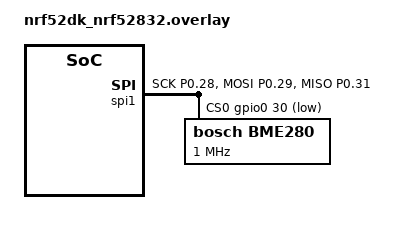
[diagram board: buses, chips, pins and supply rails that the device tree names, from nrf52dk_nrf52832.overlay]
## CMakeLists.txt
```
#
# Copyright (c) 2024 Nordic Semiconductor
#
# SPDX-License-Identifier: LicenseRef-Nordic-5-Clause
#

cmake_minimum_required(VERSION 3.20.0)
find_package(Zephyr REQUIRED HINTS $ENV{ZEPHYR_BASE})
project(nrf_connect_sdk_intermediate)

target_sources(app PRIVATE src/main.c)
```

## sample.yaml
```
sample:
  description: nRF Connect SDK Intermediate Course by Nordic Developer Academy (https://academy.nordicsemi.com/)
  name: nRF Connect SDK Intermediate Course (Lesson 4 - Exercise 1 Solution)
```

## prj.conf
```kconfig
#
# Copyright (c) 2016 Intel Corporation
# Copyright (c) 2020 Nordic Semiconductor ASA
#
# SPDX-License-Identifier: Apache-2.0
#

# Logging
CONFIG_LOG=y

# STEP 1.1 - Enable PWM
CONFIG_PWM=y
CONFIG_PWM_LOG_LEVEL_DBG=y

# STEP 1.2 - Enable LED and LED PWM
CONFIG_LED=y
CONFIG_LED_PWM=y
```

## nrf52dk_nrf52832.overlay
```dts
&i2c0 {	status = "disabled";};
&spi0 {	status = "disabled";};
&i2c1 {	status = "disabled";};
	
&spi1 {
    compatible = "nordic,nrf-spi"; //using SPI as per ERRATA 58
	status = "okay";
	pinctrl-0 = <&spi1_default>;
	pinctrl-1 = <&spi1_sleep>;
	pinctrl-names = "default", "sleep";
	cs-gpios = <&gpio0 30 GPIO_ACTIVE_LOW>;
	bme280@0 {
		compatible = "bosch,bme280";
		reg = <0>;
		spi-max-frequency = <1000000>; 
	};
};

&pinctrl {
	spi1_default: spi1_default {
		group1 {
				psels = <NRF_PSEL(SPIM_SCK, 0, 28)>,
						<NRF_PSEL(SPIM_MOSI, 0, 29)>,
						<NRF_PSEL(SPIM_MISO, 0, 31)>;
		};
	};

	spi1_sleep: spi1_sleep {
		group1 {
				psels = <NRF_PSEL(SPIM_SCK, 0, 28)>,
						<NRF_PSEL(SPIM_MOSI, 0, 29)>,
						<NRF_PSEL(SPIM_MISO, 0, 31)>;
				low-power-enable;
		};
	};
};
```

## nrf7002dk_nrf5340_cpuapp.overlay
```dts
&i2c0 {	status = "disabled";};
&spi0 {	status = "disabled";};
&i2c1 {	status = "disabled";};
	
&spi1 {
    compatible = "nordic,nrf-spim";
	status = "okay";
	pinctrl-0 = <&spi1_default>;
	pinctrl-1 = <&spi1_sleep>;
	pinctrl-names = "default", "sleep";
	cs-gpios = <&gpio0 25 GPIO_ACTIVE_LOW>;
	bme280@0 {
		compatible = "bosch,bme280";
		reg = <0>;
		spi-max-frequency = <1000000>; 
	};
};

&pinctrl {
	spi1_default: spi1_default {
		group1 {
				psels = <NRF_PSEL(SPIM_SCK, 0, 6)>,
						<NRF_PSEL(SPIM_MOSI, 0, 7)>,
						<NRF_PSEL(SPIM_MISO, 0, 26)>;
		};
	};

	spi1_sleep: spi1_sleep {
		group1 {
				psels = <NRF_PSEL(SPIM_SCK, 0, 6)>,
						<NRF_PSEL(SPIM_MOSI, 0, 7)>,
						<NRF_PSEL(SPIM_MISO, 0, 26)>;
				low-power-enable;
		};
	};
};
```

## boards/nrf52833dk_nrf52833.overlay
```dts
/* STEP 2.1 - Add the SPI peripheral to spi1 */
&i2c0 {	status = "disabled";};
&spi0 {	status = "disabled";};
&i2c1 {	status = "disabled";};
	
&spi1 {
    compatible = "nordic,nrf-spim";
	status = "okay";
	pinctrl-0 = <&spi1_default>;
	pinctrl-1 = <&spi1_sleep>;
	pinctrl-names = "default", "sleep";
	cs-gpios = <&gpio0 30 GPIO_ACTIVE_LOW>;
	bme280@0 {
		compatible = "bosch,bme280";
		reg = <0>;
		spi-max-frequency = <125000>; 
	};
};

/* STEP 2.2 - Change the pin configuration */
&pinctrl {
	spi1_default: spi1_default {
		group1 {
				psels = <NRF_PSEL(SPIM_SCK, 0, 28)>,
						<NRF_PSEL(SPIM_MOSI, 0, 29)>,
						<NRF_PSEL(SPIM_MISO, 0, 31)>;
		};
	};

	spi1_sleep: spi1_sleep {
		group1 {
				psels = <NRF_PSEL(SPIM_SCK, 0, 28)>,
						<NRF_PSEL(SPIM_MOSI, 0, 29)>,
						<NRF_PSEL(SPIM_MISO, 0, 31)>;
				low-power-enable;
		};
	};
};
```

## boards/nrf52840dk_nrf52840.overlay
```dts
/* STEP 2 - Create an overlay file for your board */
&i2c0 {	status = "disabled";};
&spi0 {	status = "disabled";};
&i2c1 {	status = "disabled";};
	
&spi1 {
    compatible = "nordic,nrf-spim";
	status = "okay";
	pinctrl-0 = <&spi1_default>;
	pinctrl-1 = <&spi1_sleep>;
	pinctrl-names = "default", "sleep";
	cs-gpios = <&gpio0 30 GPIO_ACTIVE_LOW>;
	bme280: bme280@0 {
		compatible = "bosch,bme280";
		reg = <0>;
		spi-max-frequency = <125000>; 
	};
};

&pinctrl {
	spi1_default: spi1_default {
		group1 {
				psels = <NRF_PSEL(SPIM_SCK, 0, 28)>,
						<NRF_PSEL(SPIM_MOSI, 0, 29)>,
						<NRF_PSEL(SPIM_MISO, 0, 31)>;
		};
	};

	spi1_sleep: spi1_sleep {
		group1 {
				psels = <NRF_PSEL(SPIM_SCK, 0, 28)>,
						<NRF_PSEL(SPIM_MOSI, 0, 29)>,
						<NRF_PSEL(SPIM_MISO, 0, 31)>;
				low-power-enable;
		};
	};
};
```

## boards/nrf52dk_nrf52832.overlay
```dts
/* STEP 2 - Create an overlay file for your board */
&i2c0 {	status = "disabled";};
&spi0 {	status = "disabled";};
&i2c1 {	status = "disabled";};
	
&spi1 {
    compatible = "nordic,nrf-spi"; //using SPI as per ERRATA 58
	status = "okay";
	pinctrl-0 = <&spi1_default>;
	pinctrl-1 = <&spi1_sleep>;
	pinctrl-names = "default", "sleep";
	cs-gpios = <&gpio0 30 GPIO_ACTIVE_LOW>;
	bme280@0 {
		compatible = "bosch,bme280";
		reg = <0>;
		spi-max-frequency = <125000>; 
	};
};

&pinctrl {
	spi1_default: spi1_default {
		group1 {
				psels = <NRF_PSEL(SPIM_SCK, 0, 28)>,
						<NRF_PSEL(SPIM_MOSI, 0, 29)>,
						<NRF_PSEL(SPIM_MISO, 0, 31)>;
		};
	};

	spi1_sleep: spi1_sleep {
		group1 {
				psels = <NRF_PSEL(SPIM_SCK, 0, 28)>,
						<NRF_PSEL(SPIM_MOSI, 0, 29)>,
						<NRF_PSEL(SPIM_MISO, 0, 31)>;
				low-power-enable;
		};
	};
};
```

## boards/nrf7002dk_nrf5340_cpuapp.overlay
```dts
/* STEP 2 - Create an overlay file for your board */
&i2c0 {	status = "disabled";};
&spi0 {	status = "disabled";};
&i2c1 {	status = "disabled";};
	
&spi1 {
    compatible = "nordic,nrf-spim";
	status = "okay";
	pinctrl-0 = <&spi1_default>;
	pinctrl-1 = <&spi1_sleep>;
	pinctrl-names = "default", "sleep";
	cs-gpios = <&gpio0 25 GPIO_ACTIVE_LOW>;
	bme280@0 {
		compatible = "bosch,bme280";
		reg = <0>;
		spi-max-frequency = <125000>; 
	};
};

&pinctrl {
	spi1_default: spi1_default {
		group1 {
				psels = <NRF_PSEL(SPIM_SCK, 0, 6)>,
						<NRF_PSEL(SPIM_MOSI, 0, 7)>,
						<NRF_PSEL(SPIM_MISO, 0, 26)>;
		};
	};

	spi1_sleep: spi1_sleep {
		group1 {
				psels = <NRF_PSEL(SPIM_SCK, 0, 6)>,
						<NRF_PSEL(SPIM_MOSI, 0, 7)>,
						<NRF_PSEL(SPIM_MISO, 0, 26)>;
				low-power-enable;
		};
	};
};
```

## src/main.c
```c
/*
 * Copyright (c) 2016 Intel Corporation
 * Copyright (c) 2020 Nordic Semiconductor ASA
 *
 * SPDX-License-Identifier: Apache-2.0
 */

#include <zephyr/kernel.h>
#include <zephyr/logging/log.h>

/* STEP 1.3 - Include the relevant headers for pwm*/
#include <zephyr/device.h>
#include <zephyr/drivers/pwm.h>

LOG_MODULE_REGISTER(Lesson4_Exercise1, LOG_LEVEL_INF);

/* STEP 2 - Define the desired PWM period and pulse */
#define PWM_PERIOD_NS   100000000
#define PWM_DUTY_CYCLE  1400000


/* STEP 3.1 - Get the node identifier for [] through its alias */
#define PWM_LED0     DT_ALIAS(pwm_led0)

/* STEP 3.2 - Initialize and populate struct pwm_dt_spec */
static const struct pwm_dt_spec pwm_led0 = PWM_DT_SPEC_GET(PWM_LED0);

int main(void)
{
    int err;

    /* STEP 3.3 - Check if the device is ready */
    if (!pwm_is_ready_dt(&pwm_led0)) {
        LOG_ERR("Error: PWM device %s is not ready", pwm_led0.dev->name);
        return 0;
	}
    
    /* STEP 4 - Control the LED with the control signal generated from the PWM */
    err = pwm_set_dt(&pwm_led0, PWM_PERIOD_NS, PWM_DUTY_CYCLE);
    if (err) {
	LOG_ERR("Error in pwm_set_dt(), err: %d", err);
	return 0;
    }
    
    return 0;
}
```
